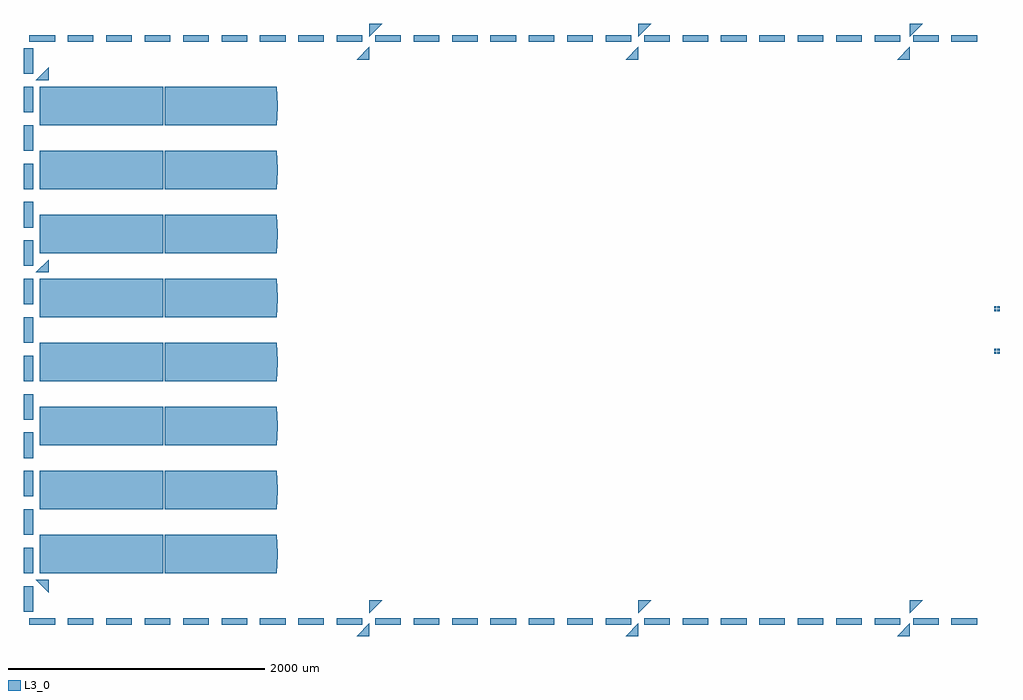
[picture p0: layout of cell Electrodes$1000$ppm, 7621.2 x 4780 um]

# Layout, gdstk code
import gdstk
lib = gdstk.Library(unit=1e-6, precision=1e-09)
def R(c, l, rs):  # rectangles x0, y0, x1, y1
    for r in rs: c.add(gdstk.rectangle(r[:2], r[2:], *l))
def A(c, l, x, y, w, h, nx, ny, dx, dy):  # array of equal rectangles
    R(c, l, [(x+i*dx, y+j*dy, x+i*dx+w, y+j*dy+h) for i in range(nx) for j in range(ny)])
def P(c, l, *ps):  # polygons
    for p in ps: c.add(gdstk.Polygon(p, *l))
L3_0 = (3, 0)

electrodes_1000_ppm = lib.new_cell('Electrodes$1000$ppm')
A(electrodes_1000_ppm, L3_0, -8200, -2300, 200, 50, 25, 2, 300, 4550)
A(electrodes_1000_ppm, L3_0, -8246.2, -2200, 76.2, 200, 1, 15, 0, 300)
A(electrodes_1000_ppm, L3_0, -8120, -900, 965, 300, 1, 3, 0, 500)
R(electrodes_1000_ppm, L3_0, [(-665,-185,-648.5,-168.5), (-641.5,-185,-625,-168.5), (-665,-161.5,-648.5,-145), (-641.5,-161.5,-625,-145), (-665,145,-648.5,161.5), (-641.5,145,-625,161.5), (-665,168.5,-648.5,185), (-641.5,168.5,-625,185), (-6260.005,744.97,-6260.003,755.052), (-8120,1100,-7155,1400), (-8120,1600,-7155,1900)])
P(electrodes_1000_ppm, L3_0, [(-6260.007,1744.97),(-6260.005,1755.052),(-6260.003,1755.052),(-6260.003,1744.97)],
  [(-6260.008,1244.97),(-6260.006,1255.052),(-6260.003,1255.052),(-6260.003,1244.97)],
  [(-6260.003,244.97),(-6260.011,244.971),(-6260.005,255.052),(-6260.003,255.052)],
  [(-6260.29,-255.122),(-6260.004,-244.948),(-6260.003,-244.948),(-6260.003,-255.03)],
  [(-6260.081,-755.037),(-6260.005,-744.948),(-6260.003,-744.948),(-6260.003,-755.03)],
  [(-6260.012,-1255.03),(-6260.005,-1244.948),(-6260.003,-1244.948),(-6260.003,-1255.03)],
  [(-6260.021,-1755.031),(-6260.005,-1744.948),(-6260.003,-1744.948),(-6260.003,-1755.03)],
  [(-8120,600),(-8120,900),(-7165,900),(-7155,900.02),(-7155,600)],
  [(-8120,-1400),(-8120,-1100),(-7165,-1100),(-7155,-1099.998),(-7155,-1400)],
  [(-8120,-1900),(-8120,-1600),(-7165,-1600),(-7155,-1600.003),(-7155,-1900)],
  [(-7145,-1900),(-7145,-1600),(-6270,-1600),(-6260,-1745),(-6260,-1755),(-6270,-1900)],
  [(-7145,-1400),(-7145,-1100),(-6270,-1100),(-6260,-1245),(-6260,-1255),(-6270,-1400)],
  [(-7145,-900),(-7145,-600),(-6270,-600),(-6260,-745),(-6260,-755),(-6270,-900)],
  [(-7145,1100),(-7145,1400),(-6270,1400),(-6260,1255),(-6260,1245),(-6270,1100)],
  [(-7145,-400),(-7145,-100),(-6270,-100),(-6260,-245),(-6260,-255),(-6270,-400)],
  [(-7145,100),(-7145,400),(-6270,400),(-6260,255),(-6260,245),(-6270,100)],
  [(-7145,600),(-7145,900),(-6270,900),(-6260,755),(-6260,745),(-6270,600)],
  [(-7145,1600),(-7145,1900),(-6270,1900),(-6260,1755),(-6260,1745),(-6270,1600)],
  [(-1325,-2210),(-1325,-2110),(-1225,-2110)],
  [(-1425,-2390),(-1325,-2290),(-1325,-2390)],
  [(-3445,-2210),(-3445,-2110),(-3345,-2110)],
  [(-3545,-2390),(-3445,-2290),(-3445,-2390)],
  [(-5545,-2210),(-5545,-2110),(-5445,-2110)],
  [(-5645,-2390),(-5545,-2290),(-5545,-2390)],
  [(-1425,-2390),(-1325,-2290),(-1325,-2390)],
  [(-1325,-2210),(-1325,-2110),(-1225,-2110)],
  [(-1325,2290),(-1325,2390),(-1225,2390)],
  [(-1425,2110),(-1325,2210),(-1325,2110)],
  [(-3445,2290),(-3445,2390),(-3345,2390)],
  [(-3545,2110),(-3445,2210),(-3445,2110)],
  [(-5545,2290),(-5545,2390),(-5445,2390)],
  [(-5645,2110),(-5545,2210),(-5545,2110)],
  [(-8050,-2050),(-8150,-1950),(-8050,-1950)],
  [(-8150,450),(-8050,550),(-8050,450)],
  [(-8150,1950),(-8050,2050),(-8050,1950)])

lib.write_gds('Electrodes_1000_ppm.gds')
